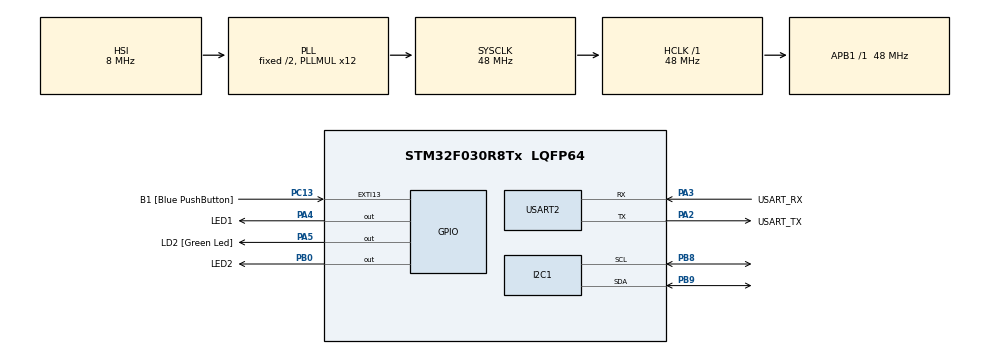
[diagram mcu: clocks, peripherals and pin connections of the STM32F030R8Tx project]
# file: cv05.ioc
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Dma.Request0=USART2_RX
Dma.USART2_RX.0.Direction=DMA_PERIPH_TO_MEMORY
Dma.USART2_RX.0.Instance=DMA1_Channel5
Dma.USART2_RX.0.MemDataAlignment=DMA_MDATAALIGN_BYTE
Dma.USART2_RX.0.MemInc=DMA_MINC_ENABLE
Dma.USART2_RX.0.Mode=DMA_CIRCULAR
Dma.USART2_RX.0.PeriphDataAlignment=DMA_PDATAALIGN_BYTE
Dma.USART2_RX.0.PeriphInc=DMA_PINC_DISABLE
Dma.USART2_RX.0.Priority=DMA_PRIORITY_LOW
I2C1.Timing=0x00201D2B
Mcu.Family=STM32F0
Mcu.Name=STM32F030R8Tx
Mcu.Package=LQFP64
NVIC.DMA1_Channel4_5_IRQn=true\:0\:0\:false\:false\:true\:false\:true\:true
PA13.GPIO_Label=TMS
PA13.Mode=Serial_Wire
PA13.Signal=SYS_SWDIO
PA14.GPIO_Label=TCK
PA14.Mode=Serial_Wire
PA14.Signal=SYS_SWCLK
PA2.GPIO_Label=USART_TX
PA2.GPIO_Mode=GPIO_MODE_AF_PP
PA2.GPIO_PuPd=GPIO_NOPULL
PA2.GPIO_Speed=GPIO_SPEED_FREQ_LOW
PA2.Mode=Asynchronous
PA2.Signal=USART2_TX
PA3.GPIO_Label=USART_RX
PA3.GPIO_Mode=GPIO_MODE_AF_PP
PA3.GPIO_PuPd=GPIO_NOPULL
PA3.GPIO_Speed=GPIO_SPEED_FREQ_LOW
PA3.Mode=Asynchronous
PA3.Signal=USART2_RX
PA4.GPIO_Label=LED1
PA4.Signal=GPIO_Output
PA5.GPIO_Label=LD2 [Green Led]
PA5.GPIO_Mode=GPIO_MODE_OUTPUT_PP
PA5.GPIO_PuPd=GPIO_NOPULL
PA5.GPIO_Speed=GPIO_SPEED_FREQ_LOW
PA5.Signal=GPIO_Output
PB0.GPIO_Label=LED2
PB0.Signal=GPIO_Output
PB8.Mode=I2C
PB8.Signal=I2C1_SCL
PB9.Mode=I2C
PB9.Signal=I2C1_SDA
PC13.GPIO_Label=B1 [Blue PushButton]
PC13.GPIO_ModeDefaultEXTI=GPIO_MODE_IT_FALLING
PC13.Signal=GPXTI13
PC14-OSC32_IN.Mode=LSE-External-Oscillator
PC14-OSC32_IN.Signal=RCC_OSC32_IN
PC15-OSC32_OUT.Mode=LSE-External-Oscillator
PC15-OSC32_OUT.Signal=RCC_OSC32_OUT
PF0-OSC_IN.Mode=HSE-External-Clock-Source
PF0-OSC_IN.Signal=RCC_OSC_IN
PF1-OSC_OUT.Signal=RCC_OSC_OUT
ProjectManager.HeapSize=0x200
ProjectManager.StackSize=0x400
ProjectManager.TargetToolchain=STM32CubeIDE
RCC.AHBFreq_Value=48000000
RCC.APB1Freq_Value=48000000
RCC.APB1TimFreq_Value=48000000
RCC.HCLKFreq_Value=48000000
RCC.PLLMUL=RCC_PLL_MUL12
RCC.SYSCLKFreq_VALUE=48000000
RCC.SYSCLKSource=RCC_SYSCLKSOURCE_PLLCLK
USART2.VirtualMode-Asynchronous=VM_ASYNC
board=NUCLEO-F030R8

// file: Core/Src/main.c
/* USER CODE BEGIN Header */
/**
 ******************************************************************************
 * @file           : main.c
 * @brief          : Main program body
 ******************************************************************************
 * @attention
 *
 * Copyright (c) 2024 STMicroelectronics.
 * All rights reserved.
 *
 * This software is licensed under terms that can be found in the LICENSE file
 * in the root directory of this software component.
 * If no LICENSE file comes with this software, it is provided AS-IS.
 *
 ******************************************************************************
 */
/* USER CODE END Header */
#include "main.h"

/* USER CODE BEGIN Includes */
#include <stdio.h>
#include <string.h>
#include <stdlib.h>
/* USER CODE END Includes */

/* USER CODE BEGIN PD */
#define RX_BUFFER_LEN 64
#define uart_rx_write_ptr (RX_BUFFER_LEN - hdma_usart2_rx.Instance->CNDTR)
#define CMD_BUFFER_LEN 256
#define EEPROM_ADDR 0xA0

/* USER CODE END PD */

I2C_HandleTypeDef hi2c1;

UART_HandleTypeDef huart2;
DMA_HandleTypeDef hdma_usart2_rx;

void SystemClock_Config(void);
static void MX_GPIO_Init(void);
static void MX_DMA_Init(void);
static void MX_USART2_UART_Init(void);
static void MX_I2C1_Init(void);

/* USER CODE BEGIN 0 */

int _write(int file, char const *buf, int n) {
	/* stdout redirection to UART2 */
	HAL_UART_Transmit(&huart2, (uint8_t*) (buf), n, HAL_MAX_DELAY);
	return n;
}

static void uart_process_command(char *cmd) {
	printf("received: '%s'\n", cmd);

	char *token;
	token = strtok(cmd, " ");
	if (strcasecmp(token, "HELLO") == 0) {
		printf("Communication OK\n");
	} else if (strcasecmp(token, "LED1") == 0) {
		token = strtok(NULL, " ");
		if (strcasecmp(token, "ON") == 0) {
			HAL_GPIO_WritePin(LED1_GPIO_Port, LED1_Pin, 1);
		} else if (strcasecmp(token, "OFF") == 0) {
			HAL_GPIO_WritePin(LED1_GPIO_Port, LED1_Pin, 0);
		}
		printf("OK\n");
	} else if (strcasecmp(token, "LED2") == 0) {
		token = strtok(NULL, " ");
		if (strcasecmp(token, "ON") == 0) {
			HAL_GPIO_WritePin(LED2_GPIO_Port, LED2_Pin, 1);
		} else if (strcasecmp(token, "OFF") == 0) {
			HAL_GPIO_WritePin(LED2_GPIO_Port, LED2_Pin, 0);
		}
		printf("OK\n");
	} else if (strcasecmp(token, "STATUS") == 0) {
		uint8_t stat_1 = HAL_GPIO_ReadPin(LED1_GPIO_Port, LED1_Pin);
		uint8_t stat_2 = HAL_GPIO_ReadPin(LED2_GPIO_Port, LED2_Pin);
		printf("Status of LED1: %d, LED2: %d\n", stat_1, stat_2);
		printf("OK\n");
	} else if (strcasecmp(token, "READ") == 0) {
		token = strtok(NULL, " ");
		uint16_t memAddr = atoi(token);
		uint8_t value;
		HAL_I2C_Mem_Read(&hi2c1, EEPROM_ADDR, memAddr, I2C_MEMADD_SIZE_16BIT, &value, 1, 1000);
		printf("Address %02x: %02x\n", memAddr, value);
		printf("OK\n");
	} else if (strcasecmp(token, "WRITE") == 0) {
		token = strtok(NULL, " ");
		uint16_t memAddr = atoi(token);
		token = strtok(NULL, " ");
		uint8_t value = atoi(token);
		HAL_I2C_Mem_Write(&hi2c1, EEPROM_ADDR, memAddr, I2C_MEMADD_SIZE_16BIT, &value, 1, 1000);
		printf("Written %02x: %02x\n", memAddr, value);
		/* Check if the EEPROM is ready for a new operation */
		while (HAL_I2C_IsDeviceReady(&hi2c1, EEPROM_ADDR, 300, 1000) == HAL_TIMEOUT) {}
		printf("OK\n");
	} else if (strcasecmp(token, "DUMP") == 0) {
		uint8_t value;
		printf("DUMP:\n");
		for (uint8_t memAddr = 0; memAddr < 16; ++memAddr) {
			HAL_I2C_Mem_Read(&hi2c1, EEPROM_ADDR, memAddr, I2C_MEMADD_SIZE_16BIT, &value, 1, 1000);
			printf("%02X ", value);
			if(memAddr%8 == 7) printf("\n");
		}

		printf("OK\n");
	}
}

static void uart_byte_available(uint8_t c) {
	static uint16_t cnt;
	static char data[CMD_BUFFER_LEN];
	if (cnt < CMD_BUFFER_LEN && c >= 32 && c <= 126)
		data[cnt++] = c;
	if ((c == '\n' || c == '\r') && cnt > 0) {
		data[cnt] = '\0';
		uart_process_command(data);
		cnt = 0;
	}
}

/* USER CODE END 0 */

int main(void)
{

  /* MCU Configuration--------------------------------------------------------*/

  /* Reset of all peripherals, Initializes the Flash interface and the Systick. */
  HAL_Init();

  /* Configure the system clock */
  SystemClock_Config();

  /* Initialize all configured peripherals */
  MX_GPIO_Init();
  MX_USART2_UART_Init();
  MX_I2C1_Init();
  /* USER CODE BEGIN 2 */
  /*const uint8_t text[] = "HELLO\n";
	 HAL_UART_Transmit(&huart2, &text, sizeof(text), HAL_MAX_DELAY);*/

  static uint8_t uart_rx_buf[RX_BUFFER_LEN];
  static volatile uint16_t uart_rx_read_ptr = 0;

  HAL_UART_Receive_DMA(&huart2, uart_rx_buf, RX_BUFFER_LEN);

  /* USER CODE END 2 */

  /* Infinite loop */
  /* USER CODE BEGIN WHILE */
	while (1) {
		/*uint8_t c;
		 HAL_UART_Receive(&huart2, &c, 1, HAL_MAX_DELAY);
		 HAL_UART_Transmit(&huart2, &c, 1, HAL_MAX_DELAY);*/

		while (uart_rx_read_ptr != uart_rx_write_ptr) {
			uint8_t b = uart_rx_buf[uart_rx_read_ptr];
			// increase read pointer
			if (++uart_rx_read_ptr >= RX_BUFFER_LEN) uart_rx_read_ptr = 0;
			// process every received byte with the RX state machine
			uart_byte_available(b);
		}

    /* USER CODE END WHILE */

	}
}

void SystemClock_Config(void)
{
  RCC_OscInitTypeDef RCC_OscInitStruct = {0};
  RCC_ClkInitTypeDef RCC_ClkInitStruct = {0};
  RCC_PeriphCLKInitTypeDef PeriphClkInit = {0};

  /** Initializes the RCC Oscillators according to the specified parameters
  * in the RCC_OscInitTypeDef structure.
  */
  RCC_OscInitStruct.OscillatorType = RCC_OSCILLATORTYPE_HSI;
  RCC_OscInitStruct.HSIState = RCC_HSI_ON;
  RCC_OscInitStruct.HSICalibrationValue = RCC_HSICALIBRATION_DEFAULT;
  RCC_OscInitStruct.PLL.PLLState = RCC_PLL_ON;
  RCC_OscInitStruct.PLL.PLLSource = RCC_PLLSOURCE_HSI;
  RCC_OscInitStruct.PLL.PLLMUL = RCC_PLL_MUL12;
  RCC_OscInitStruct.PLL.PREDIV = RCC_PREDIV_DIV1;
  if (HAL_RCC_OscConfig(&RCC_OscInitStruct) != HAL_OK)
  {
    Error_Handler();
  }

  /** Initializes the CPU, AHB and APB buses clocks
  */
  RCC_ClkInitStruct.ClockType = RCC_CLOCKTYPE_HCLK|RCC_CLOCKTYPE_SYSCLK
                              |RCC_CLOCKTYPE_PCLK1;
  RCC_ClkInitStruct.SYSCLKSource = RCC_SYSCLKSOURCE_PLLCLK;
  RCC_ClkInitStruct.AHBCLKDivider = RCC_SYSCLK_DIV1;
  RCC_ClkInitStruct.APB1CLKDivider = RCC_HCLK_DIV1;

  if (HAL_RCC_ClockConfig(&RCC_ClkInitStruct, FLASH_LATENCY_1) != HAL_OK)
  {
    Error_Handler();
  }
  PeriphClkInit.PeriphClockSelection = RCC_PERIPHCLK_I2C1;
  PeriphClkInit.I2c1ClockSelection = RCC_I2C1CLKSOURCE_HSI;
  if (HAL_RCCEx_PeriphCLKConfig(&PeriphClkInit) != HAL_OK)
  {
    Error_Handler();
  }
}

static void MX_I2C1_Init(void)
{

  hi2c1.Instance = I2C1;
  hi2c1.Init.Timing = 0x00201D2B;
  hi2c1.Init.OwnAddress1 = 0;
  hi2c1.Init.AddressingMode = I2C_ADDRESSINGMODE_7BIT;
  hi2c1.Init.DualAddressMode = I2C_DUALADDRESS_DISABLE;
  hi2c1.Init.OwnAddress2 = 0;
  hi2c1.Init.OwnAddress2Masks = I2C_OA2_NOMASK;
  hi2c1.Init.GeneralCallMode = I2C_GENERALCALL_DISABLE;
  hi2c1.Init.NoStretchMode = I2C_NOSTRETCH_DISABLE;
  if (HAL_I2C_Init(&hi2c1) != HAL_OK)
  {
    Error_Handler();
  }

  /** Configure Analogue filter
  */
  if (HAL_I2CEx_ConfigAnalogFilter(&hi2c1, I2C_ANALOGFILTER_ENABLE) != HAL_OK)
  {
    Error_Handler();
  }

  /** Configure Digital filter
  */
  if (HAL_I2CEx_ConfigDigitalFilter(&hi2c1, 0) != HAL_OK)
  {
    Error_Handler();
  }

}

static void MX_USART2_UART_Init(void)
{

  huart2.Instance = USART2;
  huart2.Init.BaudRate = 38400;
  huart2.Init.WordLength = UART_WORDLENGTH_8B;
  huart2.Init.StopBits = UART_STOPBITS_1;
  huart2.Init.Parity = UART_PARITY_NONE;
  huart2.Init.Mode = UART_MODE_TX_RX;
  huart2.Init.HwFlowCtl = UART_HWCONTROL_NONE;
  huart2.Init.OverSampling = UART_OVERSAMPLING_16;
  huart2.Init.OneBitSampling = UART_ONE_BIT_SAMPLE_DISABLE;
  huart2.AdvancedInit.AdvFeatureInit = UART_ADVFEATURE_NO_INIT;
  if (HAL_UART_Init(&huart2) != HAL_OK)
  {
    Error_Handler();
  }

}

static void MX_DMA_Init(void)
{

  /* DMA controller clock enable */
  __HAL_RCC_DMA1_CLK_ENABLE();

  /* DMA interrupt init */
  /* DMA1_Channel4_5_IRQn interrupt configuration */
  HAL_NVIC_SetPriority(DMA1_Channel4_5_IRQn, 0, 0);
  HAL_NVIC_EnableIRQ(DMA1_Channel4_5_IRQn);

}

static void MX_GPIO_Init(void)
{
  GPIO_InitTypeDef GPIO_InitStruct = {0};

  /* GPIO Ports Clock Enable */
  __HAL_RCC_GPIOC_CLK_ENABLE();
  __HAL_RCC_GPIOF_CLK_ENABLE();
  __HAL_RCC_GPIOA_CLK_ENABLE();
  __HAL_RCC_GPIOB_CLK_ENABLE();

  /*Configure GPIO pin Output Level */
  HAL_GPIO_WritePin(GPIOA, LED1_Pin|LD2_Pin, GPIO_PIN_RESET);

  /*Configure GPIO pin Output Level */
  HAL_GPIO_WritePin(LED2_GPIO_Port, LED2_Pin, GPIO_PIN_RESET);

  /*Configure GPIO pin : B1_Pin */
  GPIO_InitStruct.Pin = B1_Pin;
  GPIO_InitStruct.Mode = GPIO_MODE_IT_FALLING;
  GPIO_InitStruct.Pull = GPIO_NOPULL;
  HAL_GPIO_Init(B1_GPIO_Port, &GPIO_InitStruct);

  /*Configure GPIO pins : LED1_Pin LD2_Pin */
  GPIO_InitStruct.Pin = LED1_Pin|LD2_Pin;
  GPIO_InitStruct.Mode = GPIO_MODE_OUTPUT_PP;
  GPIO_InitStruct.Pull = GPIO_NOPULL;
  GPIO_InitStruct.Speed = GPIO_SPEED_FREQ_LOW;
  HAL_GPIO_Init(GPIOA, &GPIO_InitStruct);

  /*Configure GPIO pin : LED2_Pin */
  GPIO_InitStruct.Pin = LED2_Pin;
  GPIO_InitStruct.Mode = GPIO_MODE_OUTPUT_PP;
  GPIO_InitStruct.Pull = GPIO_NOPULL;
  GPIO_InitStruct.Speed = GPIO_SPEED_FREQ_LOW;
  HAL_GPIO_Init(LED2_GPIO_Port, &GPIO_InitStruct);

}

void Error_Handler(void)
{
	__disable_irq();
	while (1) {
	}
}
